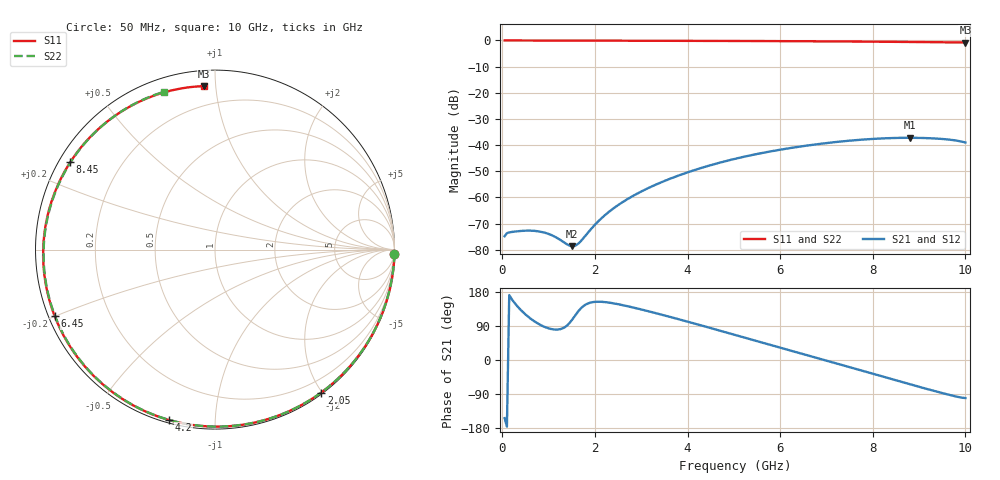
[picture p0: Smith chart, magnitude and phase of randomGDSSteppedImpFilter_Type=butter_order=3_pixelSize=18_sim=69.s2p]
! freq	dB(S11)	phase(S11)	dB(S12)	phase(S12)
!  dB(S21)	phase(S21)	dB(S22)	phase(S22)
!S-par simulation data
#  GHz  S  DB  R 50
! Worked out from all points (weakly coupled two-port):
!   200 points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, 50 MHz to 10 GHz, reference 50 ohm
!   highest |S21| = -37.19 dB at 8.8 GHz (marker M1); lowest = -78.6 dB at 1.5 GHz (marker M2)
!   lowest |S11| = -0.8 dB at 10 GHz (marker M3), VSWR 21.98, Z = 4.25 + j46.5 ohm
!   |S11| at or under -10 dB: nowhere
!   |S22| runs from -0.7 to 0.0 dB; largest |S21 - S12| = 0
!   S11 on the Smith chart (normalised r, x): 50 MHz: 0, -86; 2.05 GHz: 0.02, -1.99; 4.2 GHz: 0.01, -0.77; 6.45 GHz: 0.02, -0.20; 8.45 GHz: 0.03, +0.28; 10 GHz: 0.09, +0.93
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0.05  -0.00 -1.3  -74.81 -153.4  -74.81 -153.4  -0.00 -1.3
0.1  -0.00 -2.7  -73.63 -175.7  -73.63 -175.7  -0.00 -2.5
0.2  -0.00 -5.3  -73.17 161.4  -73.17 161.4  -0.00 -5.1
0.75  -0.02 -19.9  -72.86 97.6  -72.86 97.6  -0.02 -18.8
1.05  -0.03 -27.8  -74.27 81.9  -74.27 81.9  -0.03 -26.3
1.5  -0.05 -39.4  -78.60 105.0  -78.60 105.0  -0.05 -37.3
1.6  -0.05 -42.0  -78.17 122.1  -78.17 122.1  -0.05 -39.7
1.75  -0.06 -45.8  -75.58 142.2  -75.58 142.2  -0.06 -43.4
2.05  -0.07 -53.4  -69.50 153.8  -69.50 153.8  -0.06 -50.6
2.6  -0.08 -67.1  -61.74 144.8  -61.74 144.8  -0.08 -63.7
3.4  -0.11 -86.4  -54.44 120.9  -54.44 120.9  -0.11 -82.2
4.2  -0.15 -105.1  -49.24 94.5  -49.24 94.5  -0.14 -100.4
5.05  -0.19 -124.7  -45.12 65.3  -45.12 65.3  -0.19 -119.4
5.8  -0.24 -142.1  -42.36 39.4  -42.36 39.4  -0.23 -136.3
6.45  -0.29 -157.5  -40.49 17.1  -40.49 17.1  -0.29 -151.2
6.7  -0.31 -163.6  -39.87 8.6  -39.87 8.6  -0.31 -157.1
7.55  -0.40 174.6  -38.21 -20.6  -38.21 -20.6  -0.39 -178.1
8.35  -0.50 151.9  -37.32 -48.4  -37.32 -48.4  -0.48 160.4
8.45  -0.52 148.8  -37.27 -51.9  -37.27 -51.9  -0.50 157.6
8.8  -0.57 137.8  -37.19 -64.0  -37.19 -64.0  -0.54 147.3
9.45  -0.68 115.2  -37.57 -85.6  -37.57 -85.6  -0.62 126.8
10  -0.79 93.9  -39.00 -100.4  -39.00 -100.4  -0.69 107.9
